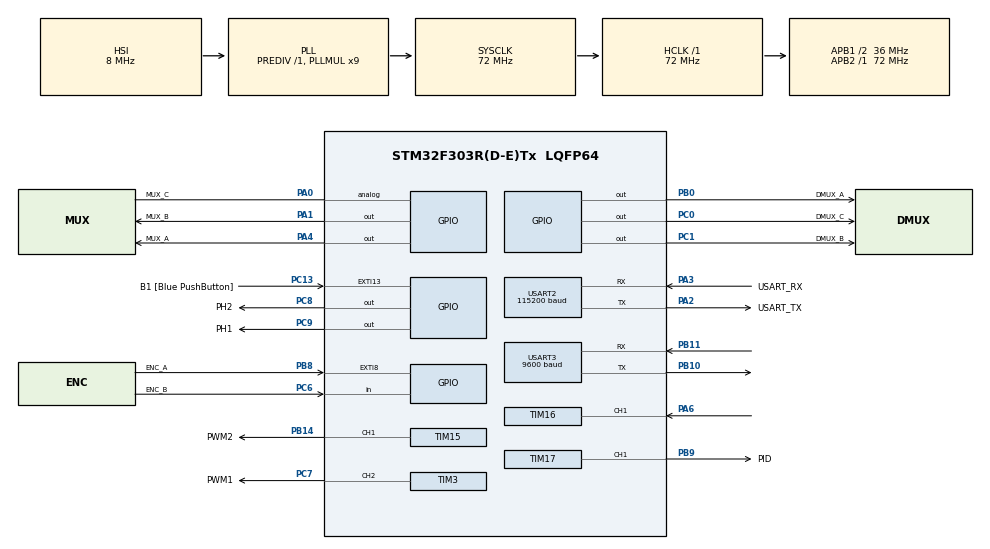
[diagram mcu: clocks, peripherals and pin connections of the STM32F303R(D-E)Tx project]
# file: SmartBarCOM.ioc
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FREERTOS.Tasks01=ExecuteCommand,24,128,StartExecuteCommand,Default,NULL,Dynamic,NULL,NULL
Mcu.Family=STM32F3
Mcu.Name=STM32F303R(D-E)Tx
Mcu.Package=LQFP64
NVIC.EXTI9_5_IRQn=true\:5\:0\:false\:false\:true\:true\:true\:true\:true
NVIC.PriorityGroup=NVIC_PRIORITYGROUP_4
NVIC.TIM6_DAC_IRQn=true\:15\:0\:false\:false\:true\:false\:false\:true\:true
NVIC.TimeBase=TIM6_DAC_IRQn
NVIC.TimeBaseIP=TIM6
NVIC.USART2_IRQn=true\:5\:0\:false\:false\:true\:true\:true\:true\:true
NVIC.USART3_IRQn=true\:5\:0\:false\:false\:true\:true\:true\:true\:true
PA0.GPIO_Label=MUX_C
PA0.Signal=GPIO_Analog
PA1.GPIO_Label=MUX_B
PA1.Signal=GPIO_Output
PA13.GPIO_Label=TMS
PA13.Mode=Serial_Wire
PA13.Signal=SYS_JTMS-SWDIO
PA14.GPIO_Label=TCK
PA14.Mode=Serial_Wire
PA14.Signal=SYS_JTCK-SWCLK
PA2.GPIO_Label=USART_TX
PA2.GPIO_Mode=GPIO_MODE_AF_PP
PA2.GPIO_PuPd=GPIO_NOPULL
PA2.GPIO_Speed=GPIO_SPEED_FREQ_LOW
PA2.Mode=Asynchronous
PA2.Signal=USART2_TX
PA3.GPIO_Label=USART_RX
PA3.GPIO_Mode=GPIO_MODE_AF_PP
PA3.GPIO_PuPd=GPIO_NOPULL
PA3.GPIO_Speed=GPIO_SPEED_FREQ_LOW
PA3.Mode=Asynchronous
PA3.Signal=USART2_RX
PA4.GPIO_Label=MUX_A
PA4.Signal=GPIO_Output
PA6.Signal=S_TIM16_CH1
PB0.GPIO_Label=DMUX_A
PB0.Signal=GPIO_Output
PB10.Mode=Asynchronous
PB10.Signal=USART3_TX
PB11.Mode=Asynchronous
PB11.Signal=USART3_RX
PB14.GPIO_Label=PWM2
PB14.Signal=S_TIM15_CH1
PB3.GPIO_Label=SWO
PB3.Signal=SYS_JTDO-TRACESWO
PB8.GPIO_Label=ENC_A
PB8.GPIO_ModeDefaultEXTI=GPIO_MODE_IT_RISING_FALLING
PB8.GPIO_PuPd=GPIO_PULLUP
PB8.Signal=GPXTI8
PB9.GPIO_Label=PID
PB9.Signal=S_TIM17_CH1
PC0.GPIO_Label=DMUX_C
PC0.Signal=GPIO_Output
PC1.GPIO_Label=DMUX_B
PC1.Signal=GPIO_Output
PC13.GPIO_Label=B1 [Blue PushButton]
PC13.GPIO_ModeDefaultEXTI=GPIO_MODE_IT_FALLING
PC13.Signal=GPXTI13
PC14-OSC32_IN.Mode=LSE-External-Oscillator
PC14-OSC32_IN.Signal=RCC_OSC32_IN
PC15-OSC32_OUT.Mode=LSE-External-Oscillator
PC15-OSC32_OUT.Signal=RCC_OSC32_OUT
PC6.GPIO_Label=ENC_B
PC6.GPIO_PuPd=GPIO_PULLUP
PC6.Signal=GPIO_Input
PC7.GPIO_Label=PWM1
PC7.Signal=S_TIM3_CH2
PC8.GPIO_Label=PH2
PC8.Signal=GPIO_Output
PC9.GPIO_Label=PH1
PC9.Signal=GPIO_Output
PF0-OSC_IN.Mode=HSE-External-Clock-Source
PF0-OSC_IN.Signal=RCC_OSC_IN
PF1-OSC_OUT.Signal=RCC_OSC_OUT
ProjectManager.HeapSize=0x200
ProjectManager.StackSize=0x400
ProjectManager.TargetToolchain=CMake
RCC.AHBFreq_Value=72000000
RCC.APB1CLKDivider=RCC_HCLK_DIV2
RCC.APB1Freq_Value=36000000
RCC.APB1TimFreq_Value=72000000
RCC.APB2Freq_Value=72000000
RCC.APB2TimCLKDivider=1
RCC.APB2TimFreq_Value=72000000
RCC.CortexFreq_Value=72000000
RCC.HCLKFreq_Value=72000000
RCC.HSE_VALUE=8000000
RCC.HSI_VALUE=8000000
RCC.PLLM=8
RCC.PLLMUL=RCC_PLL_MUL9
RCC.PLLN=336
RCC.PLLP=RCC_PLLP_DIV4
RCC.PLLQ=7
RCC.RCC_PLLsource_Clock_Source_FROM_HSE=RCC_HSE_PREDIV_DIV2
RCC.SYSCLKFreq_VALUE=72000000
RCC.SYSCLKSourceVirtual=RCC_SYSCLKSOURCE_PLLCLK
RCC.USBFreq_Value=72000000
SH.S_TIM15_CH1.0=TIM15_CH1,PWM Generation1 CH1
SH.S_TIM16_CH1.0=TIM16_CH1,Input_Capture1_from_TI1
SH.S_TIM17_CH1.0=TIM17_CH1,PWM Generation1 CH1
SH.S_TIM3_CH2.0=TIM3_CH2,PWM Generation2 CH2
TIM15.Channel-PWM\ Generation1\ CH1=TIM_CHANNEL_1
TIM15.Period=255
TIM15.Prescaler=282
TIM16.Channel=TIM_CHANNEL_1
TIM16.Period=65535
TIM16.Prescaler=72
TIM17.Channel=TIM_CHANNEL_1
TIM17.Period=255
TIM17.Prescaler=565
TIM3.Channel-PWM\ Generation2\ CH2=TIM_CHANNEL_2
TIM3.Period=255
TIM3.Prescaler=5625
USART2.BaudRate=115200
USART2.VirtualMode-Asynchronous=VM_ASYNC
USART3.BaudRate=9600
USART3.VirtualMode-Asynchronous=VM_ASYNC
VP_FREERTOS_VS_CMSIS_V2.Mode=CMSIS_V2
VP_SYS_VS_tim6.Mode=TIM6
VP_TIM16_VS_ClockSourceINT.Mode=Enable_Timer
VP_TIM17_VS_ClockSourceINT.Mode=Enable_Timer
board=NUCLEO-F303RE

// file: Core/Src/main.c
#include "main.h"
#include "cmsis_os.h"

#include "cli.h"

TIM_HandleTypeDef htim3;
TIM_HandleTypeDef htim15;
TIM_HandleTypeDef htim16;
TIM_HandleTypeDef htim17;

UART_HandleTypeDef huart2;
UART_HandleTypeDef huart3;

osThreadId_t ExecuteCommandHandle;
const osThreadAttr_t ExecuteCommand_attributes = {
  .name = "ExecuteCommand",
  .stack_size = 128 * 4,
  .priority = (osPriority_t) osPriorityNormal,
};

// Flags and indexes
volatile uint8_t enterPressed = 0;

// Stores the last received character
uint8_t textChar[2];
// rxBuffer index
uint8_t rxIdx;

/* USER CODE END PV */

void SystemClock_Config(void);
static void MX_GPIO_Init(void);
static void MX_USART2_UART_Init(void);
static void MX_USART3_UART_Init(void);
static void MX_TIM3_Init(void);
static void MX_TIM17_Init(void);
static void MX_TIM16_Init(void);
static void MX_TIM15_Init(void);
void StartExecuteCommand(void *argument);

int main(void) {

  /* MCU Configuration--------------------------------------------------------*/

  /* Reset of all peripherals, Initializes the Flash interface and the Systick. */
  HAL_Init();

  /* Configure the system clock */
  SystemClock_Config();

  /* Initialize all configured peripherals */
  MX_GPIO_Init();
  MX_USART2_UART_Init();
  MX_USART3_UART_Init();
  MX_TIM3_Init();
  MX_TIM17_Init();
  MX_TIM16_Init();
  MX_TIM15_Init();
  /* USER CODE BEGIN 2 */
  //! MOVER AQUÍ
  HAL_UART_Receive_IT(&huart3, textChar, 1);
  // HAL_UART_Receive_IT(&huart2, textChar, 1);

  // Set the initial angle of the servo motor to 0°
  uint8_t pulse = (uint8_t)((SERVO_DUTY_CYCLE_LOWER_BOUND / 100.0) * 255);
  __HAL_TIM_SET_COMPARE(&htim3, TIM_CHANNEL_2, pulse);
  __HAL_TIM_SET_COMPARE(&htim15, TIM_CHANNEL_1, 0);
  /* USER CODE END 2 */

  /* Init scheduler */
  osKernelInitialize();

  /* Create the thread(s) */
  /* creation of ExecuteCommand */
  ExecuteCommandHandle = osThreadNew(StartExecuteCommand, NULL, &ExecuteCommand_attributes);

  /* Start scheduler */
  osKernelStart();

  /* We should never get here as control is now taken by the scheduler */

  /* Infinite loop */
  while (1)
  {

  }
}

void SystemClock_Config(void) {
  RCC_OscInitTypeDef RCC_OscInitStruct = {0};
  RCC_ClkInitTypeDef RCC_ClkInitStruct = {0};
  RCC_PeriphCLKInitTypeDef PeriphClkInit = {0};

  /** Initializes the RCC Oscillators according to the specified parameters
  * in the RCC_OscInitTypeDef structure.
  */
  RCC_OscInitStruct.OscillatorType = RCC_OSCILLATORTYPE_HSI;
  RCC_OscInitStruct.HSIState = RCC_HSI_ON;
  RCC_OscInitStruct.HSICalibrationValue = RCC_HSICALIBRATION_DEFAULT;
  RCC_OscInitStruct.PLL.PLLState = RCC_PLL_ON;
  RCC_OscInitStruct.PLL.PLLSource = RCC_PLLSOURCE_HSI;
  RCC_OscInitStruct.PLL.PLLMUL = RCC_PLL_MUL9;
  RCC_OscInitStruct.PLL.PREDIV = RCC_PREDIV_DIV1;

  if (HAL_RCC_OscConfig(&RCC_OscInitStruct) != HAL_OK) {
    Error_Handler();
  }

  /** Initializes the CPU, AHB and APB buses clocks
  */
  RCC_ClkInitStruct.ClockType = RCC_CLOCKTYPE_HCLK|RCC_CLOCKTYPE_SYSCLK
                              |RCC_CLOCKTYPE_PCLK1|RCC_CLOCKTYPE_PCLK2;
  RCC_ClkInitStruct.SYSCLKSource = RCC_SYSCLKSOURCE_PLLCLK;
  RCC_ClkInitStruct.AHBCLKDivider = RCC_SYSCLK_DIV1;
  RCC_ClkInitStruct.APB1CLKDivider = RCC_HCLK_DIV2;
  RCC_ClkInitStruct.APB2CLKDivider = RCC_HCLK_DIV1;

  if (HAL_RCC_ClockConfig(&RCC_ClkInitStruct, FLASH_LATENCY_2) != HAL_OK) {
    Error_Handler();
  }
  PeriphClkInit.PeriphClockSelection = RCC_PERIPHCLK_USART2|RCC_PERIPHCLK_USART3
                                        |RCC_PERIPHCLK_TIM15|RCC_PERIPHCLK_TIM16
                                        |RCC_PERIPHCLK_TIM17|RCC_PERIPHCLK_TIM34;
  PeriphClkInit.Usart2ClockSelection = RCC_USART2CLKSOURCE_PCLK1;
  PeriphClkInit.Usart3ClockSelection = RCC_USART3CLKSOURCE_PCLK1;
  PeriphClkInit.Tim16ClockSelection = RCC_TIM16CLK_HCLK;
  PeriphClkInit.Tim17ClockSelection = RCC_TIM17CLK_HCLK;
  PeriphClkInit.Tim34ClockSelection = RCC_TIM34CLK_HCLK;

  if (HAL_RCCEx_PeriphCLKConfig(&PeriphClkInit) != HAL_OK) {
    Error_Handler();
  }
}

static void MX_TIM3_Init(void) {

  TIM_MasterConfigTypeDef sMasterConfig = {0};
  TIM_OC_InitTypeDef sConfigOC = {0};

  htim3.Instance = TIM3;
  htim3.Init.Prescaler = 5625;
  htim3.Init.CounterMode = TIM_COUNTERMODE_UP;
  htim3.Init.Period = 255;
  htim3.Init.ClockDivision = TIM_CLOCKDIVISION_DIV1;
  htim3.Init.AutoReloadPreload = TIM_AUTORELOAD_PRELOAD_DISABLE;

  if (HAL_TIM_PWM_Init(&htim3) != HAL_OK) {
    Error_Handler();
  }

  sMasterConfig.MasterOutputTrigger = TIM_TRGO_RESET;
  sMasterConfig.MasterSlaveMode = TIM_MASTERSLAVEMODE_DISABLE;

  if (HAL_TIMEx_MasterConfigSynchronization(&htim3, &sMasterConfig) != HAL_OK) {
    Error_Handler();
  }

  sConfigOC.OCMode = TIM_OCMODE_PWM1;
  sConfigOC.Pulse = 0;
  sConfigOC.OCPolarity = TIM_OCPOLARITY_HIGH;
  sConfigOC.OCFastMode = TIM_OCFAST_DISABLE;

  if (HAL_TIM_PWM_ConfigChannel(&htim3, &sConfigOC, TIM_CHANNEL_2) != HAL_OK) {
    Error_Handler();
  }

  /* USER CODE BEGIN TIM3_Init 2 */
  HAL_TIM_PWM_Start(&htim3, TIM_CHANNEL_2);
  /* USER CODE END TIM3_Init 2 */
  HAL_TIM_MspPostInit(&htim3);
}

static void MX_TIM15_Init(void) {

  TIM_MasterConfigTypeDef sMasterConfig = {0};
  TIM_OC_InitTypeDef sConfigOC = {0};
  TIM_BreakDeadTimeConfigTypeDef sBreakDeadTimeConfig = {0};

  htim15.Instance = TIM15;
  htim15.Init.Prescaler = 282;
  htim15.Init.CounterMode = TIM_COUNTERMODE_UP;
  htim15.Init.Period = 255;
  htim15.Init.ClockDivision = TIM_CLOCKDIVISION_DIV1;
  htim15.Init.RepetitionCounter = 0;
  htim15.Init.AutoReloadPreload = TIM_AUTORELOAD_PRELOAD_DISABLE;

  if (HAL_TIM_PWM_Init(&htim15) != HAL_OK) {
    Error_Handler();
  }

  sMasterConfig.MasterOutputTrigger = TIM_TRGO_RESET;
  sMasterConfig.MasterSlaveMode = TIM_MASTERSLAVEMODE_DISABLE;

  if (HAL_TIMEx_MasterConfigSynchronization(&htim15, &sMasterConfig) != HAL_OK) {
    Error_Handler();
  }

  sConfigOC.OCMode = TIM_OCMODE_PWM1;
  sConfigOC.Pulse = 0;
  sConfigOC.OCPolarity = TIM_OCPOLARITY_HIGH;
  sConfigOC.OCNPolarity = TIM_OCNPOLARITY_HIGH;
  sConfigOC.OCFastMode = TIM_OCFAST_DISABLE;
  sConfigOC.OCIdleState = TIM_OCIDLESTATE_RESET;
  sConfigOC.OCNIdleState = TIM_OCNIDLESTATE_RESET;

  if (HAL_TIM_PWM_ConfigChannel(&htim15, &sConfigOC, TIM_CHANNEL_1) != HAL_OK) {
    Error_Handler();
  }

  sBreakDeadTimeConfig.OffStateRunMode = TIM_OSSR_DISABLE;
  sBreakDeadTimeConfig.OffStateIDLEMode = TIM_OSSI_DISABLE;
  sBreakDeadTimeConfig.LockLevel = TIM_LOCKLEVEL_OFF;
  sBreakDeadTimeConfig.DeadTime = 0;
  sBreakDeadTimeConfig.BreakState = TIM_BREAK_DISABLE;
  sBreakDeadTimeConfig.BreakPolarity = TIM_BREAKPOLARITY_HIGH;
  sBreakDeadTimeConfig.BreakFilter = 0;
  sBreakDeadTimeConfig.AutomaticOutput = TIM_AUTOMATICOUTPUT_DISABLE;

  if (HAL_TIMEx_ConfigBreakDeadTime(&htim15, &sBreakDeadTimeConfig) != HAL_OK) {
    Error_Handler();
  }

  /* USER CODE BEGIN TIM15_Init 2 */
  HAL_TIM_PWM_Start(&htim15, TIM_CHANNEL_1);
  /* USER CODE END TIM15_Init 2 */
  HAL_TIM_MspPostInit(&htim15);
}

static void MX_TIM16_Init(void) {

  TIM_IC_InitTypeDef sConfigIC = {0};

  htim16.Instance = TIM16;
  htim16.Init.Prescaler = 72;
  htim16.Init.CounterMode = TIM_COUNTERMODE_UP;
  htim16.Init.Period = 65535;
  htim16.Init.ClockDivision = TIM_CLOCKDIVISION_DIV1;
  htim16.Init.RepetitionCounter = 0;
  htim16.Init.AutoReloadPreload = TIM_AUTORELOAD_PRELOAD_DISABLE;

  if (HAL_TIM_Base_Init(&htim16) != HAL_OK) {
    Error_Handler();
  }

  if (HAL_TIM_IC_Init(&htim16) != HAL_OK) {
    Error_Handler();
  }

  sConfigIC.ICPolarity = TIM_INPUTCHANNELPOLARITY_RISING;
  sConfigIC.ICSelection = TIM_ICSELECTION_DIRECTTI;
  sConfigIC.ICPrescaler = TIM_ICPSC_DIV1;
  sConfigIC.ICFilter = 0;

  if (HAL_TIM_IC_ConfigChannel(&htim16, &sConfigIC, TIM_CHANNEL_1) != HAL_OK) {
    Error_Handler();
  }
  /* USER CODE BEGIN TIM16_Init 2 */
  HAL_TIM_Base_Start(&htim16);
  /* USER CODE END TIM16_Init 2 */
}

static void MX_TIM17_Init(void) {

  TIM_OC_InitTypeDef sConfigOC = {0};
  TIM_BreakDeadTimeConfigTypeDef sBreakDeadTimeConfig = {0};

  htim17.Instance = TIM17;
  htim17.Init.Prescaler = 565;
  htim17.Init.CounterMode = TIM_COUNTERMODE_UP;
  htim17.Init.Period = 255;
  htim17.Init.ClockDivision = TIM_CLOCKDIVISION_DIV1;
  htim17.Init.RepetitionCounter = 0;
  htim17.Init.AutoReloadPreload = TIM_AUTORELOAD_PRELOAD_DISABLE;

  if (HAL_TIM_Base_Init(&htim17) != HAL_OK) {
    Error_Handler();
  }

  if (HAL_TIM_PWM_Init(&htim17) != HAL_OK) {
    Error_Handler();
  }

  sConfigOC.OCMode = TIM_OCMODE_PWM1;
  sConfigOC.Pulse = 0;
  sConfigOC.OCPolarity = TIM_OCPOLARITY_HIGH;
  sConfigOC.OCNPolarity = TIM_OCNPOLARITY_HIGH;
  sConfigOC.OCFastMode = TIM_OCFAST_DISABLE;
  sConfigOC.OCIdleState = TIM_OCIDLESTATE_RESET;
  sConfigOC.OCNIdleState = TIM_OCNIDLESTATE_RESET;

  if (HAL_TIM_PWM_ConfigChannel(&htim17, &sConfigOC, TIM_CHANNEL_1) != HAL_OK) {
    Error_Handler();
  }

  sBreakDeadTimeConfig.OffStateRunMode = TIM_OSSR_DISABLE;
  sBreakDeadTimeConfig.OffStateIDLEMode = TIM_OSSI_DISABLE;
  sBreakDeadTimeConfig.LockLevel = TIM_LOCKLEVEL_OFF;
  sBreakDeadTimeConfig.DeadTime = 0;
  sBreakDeadTimeConfig.BreakState = TIM_BREAK_DISABLE;
  sBreakDeadTimeConfig.BreakPolarity = TIM_BREAKPOLARITY_HIGH;
  sBreakDeadTimeConfig.BreakFilter = 0;
  sBreakDeadTimeConfig.AutomaticOutput = TIM_AUTOMATICOUTPUT_DISABLE;

  if (HAL_TIMEx_ConfigBreakDeadTime(&htim17, &sBreakDeadTimeConfig) != HAL_OK) {
    Error_Handler();
  }

  /* USER CODE BEGIN TIM17_Init 2 */
  HAL_TIM_PWM_Start(&htim17, TIM_CHANNEL_1);
  /* USER CODE END TIM17_Init 2 */
  HAL_TIM_MspPostInit(&htim17);
}

static void MX_USART2_UART_Init(void) {

  huart2.Instance = USART2;
  huart2.Init.BaudRate = 115200;
  huart2.Init.WordLength = UART_WORDLENGTH_8B;
  huart2.Init.StopBits = UART_STOPBITS_1;
  huart2.Init.Parity = UART_PARITY_NONE;
  huart2.Init.Mode = UART_MODE_TX_RX;
  huart2.Init.HwFlowCtl = UART_HWCONTROL_NONE;
  huart2.Init.OverSampling = UART_OVERSAMPLING_16;
  huart2.Init.OneBitSampling = UART_ONE_BIT_SAMPLE_DISABLE;
  huart2.AdvancedInit.AdvFeatureInit = UART_ADVFEATURE_NO_INIT;

  if (HAL_UART_Init(&huart2) != HAL_OK) {
    Error_Handler();
  }
}

static void MX_USART3_UART_Init(void) {

  huart3.Instance = USART3;
  huart3.Init.BaudRate = 9600;
  huart3.Init.WordLength = UART_WORDLENGTH_8B;
  huart3.Init.StopBits = UART_STOPBITS_1;
  huart3.Init.Parity = UART_PARITY_NONE;
  huart3.Init.Mode = UART_MODE_TX_RX;
  huart3.Init.HwFlowCtl = UART_HWCONTROL_NONE;
  huart3.Init.OverSampling = UART_OVERSAMPLING_16;
  huart3.Init.OneBitSampling = UART_ONE_BIT_SAMPLE_DISABLE;
  huart3.AdvancedInit.AdvFeatureInit = UART_ADVFEATURE_NO_INIT;

  if (HAL_UART_Init(&huart3) != HAL_OK) {
    Error_Handler();
  }
}

static void MX_GPIO_Init(void) {
  GPIO_InitTypeDef GPIO_InitStruct = {0};

  /* GPIO Ports Clock Enable */
  __HAL_RCC_GPIOC_CLK_ENABLE();
  __HAL_RCC_GPIOF_CLK_ENABLE();
  __HAL_RCC_GPIOA_CLK_ENABLE();
  __HAL_RCC_GPIOB_CLK_ENABLE();

  /*Configure GPIO pin Output Level */
  HAL_GPIO_WritePin(GPIOC, DMUX_C_Pin|DMUX_B_Pin|PH2_Pin|PH1_Pin, GPIO_PIN_RESET);

  /*Configure GPIO pin Output Level */
  HAL_GPIO_WritePin(GPIOA, MUX_B_Pin|MUX_A_Pin, GPIO_PIN_RESET);

  /*Configure GPIO pin Output Level */
  HAL_GPIO_WritePin(DMUX_A_GPIO_Port, DMUX_A_Pin, GPIO_PIN_RESET);

  /*Configure GPIO pin : B1_Pin */
  GPIO_InitStruct.Pin = B1_Pin;
  GPIO_InitStruct.Mode = GPIO_MODE_IT_FALLING;
  GPIO_InitStruct.Pull = GPIO_NOPULL;
  HAL_GPIO_Init(B1_GPIO_Port, &GPIO_InitStruct);

  /*Configure GPIO pins : DMUX_C_Pin DMUX_B_Pin PH2_Pin PH1_Pin */
  GPIO_InitStruct.Pin = DMUX_C_Pin|DMUX_B_Pin|PH2_Pin|PH1_Pin;
  GPIO_InitStruct.Mode = GPIO_MODE_OUTPUT_PP;
  GPIO_InitStruct.Pull = GPIO_NOPULL;
  GPIO_InitStruct.Speed = GPIO_SPEED_FREQ_LOW;
  HAL_GPIO_Init(GPIOC, &GPIO_InitStruct);

  /*Configure GPIO pin : MUX_C_Pin */
  GPIO_InitStruct.Pin = MUX_C_Pin;
  GPIO_InitStruct.Mode = GPIO_MODE_ANALOG;
  GPIO_InitStruct.Pull = GPIO_NOPULL;
  HAL_GPIO_Init(MUX_C_GPIO_Port, &GPIO_InitStruct);

  /*Configure GPIO pins : MUX_B_Pin MUX_A_Pin */
  GPIO_InitStruct.Pin = MUX_B_Pin|MUX_A_Pin;
  GPIO_InitStruct.Mode = GPIO_MODE_OUTPUT_PP;
  GPIO_InitStruct.Pull = GPIO_NOPULL;
  GPIO_InitStruct.Speed = GPIO_SPEED_FREQ_LOW;
  HAL_GPIO_Init(GPIOA, &GPIO_InitStruct);

  /*Configure GPIO pin : DMUX_A_Pin */
  GPIO_InitStruct.Pin = DMUX_A_Pin;
  GPIO_InitStruct.Mode = GPIO_MODE_OUTPUT_PP;
  GPIO_InitStruct.Pull = GPIO_NOPULL;
  GPIO_InitStruct.Speed = GPIO_SPEED_FREQ_LOW;
  HAL_GPIO_Init(DMUX_A_GPIO_Port, &GPIO_InitStruct);

  /*Configure GPIO pin : ENC_B_Pin */
  GPIO_InitStruct.Pin = ENC_B_Pin;
  GPIO_InitStruct.Mode = GPIO_MODE_INPUT;
  GPIO_InitStruct.Pull = GPIO_PULLUP;
  HAL_GPIO_Init(ENC_B_GPIO_Port, &GPIO_InitStruct);

  /*Configure GPIO pin : ENC_A_Pin */
  GPIO_InitStruct.Pin = ENC_A_Pin;
  GPIO_InitStruct.Mode = GPIO_MODE_IT_RISING_FALLING;
  GPIO_InitStruct.Pull = GPIO_PULLUP;
  HAL_GPIO_Init(ENC_A_GPIO_Port, &GPIO_InitStruct);

  /* EXTI interrupt init*/
  HAL_NVIC_SetPriority(EXTI9_5_IRQn, 5, 0);
  HAL_NVIC_EnableIRQ(EXTI9_5_IRQn);

}

/* USER CODE BEGIN 4 */

/**
 * @brief Callback function for the UART reception.
 *
 * This function is called when a character is received from the UART3 peripheral.
 * The received character is stored in the rxBuffer and echoed back to the terminal
 * console connected to the UART2 peripheral. Supports backspace and Enter characters.
 *
 * @param huart
 * @retval None
 * @note The expected UART instance to receive data is USART3, which is connected to the
 *       HC-05 Bluetooth module. The UART2 instance is used to echo the received characters
 *       back to the terminal console, which corresponds to the USB virtual COM port from
 *       the Nucleo board.
 */
void HAL_UART_RxCpltCallback(UART_HandleTypeDef *huart) {
  // If the interrupt is not from USART3, ignore it
  if (huart->Instance != USART3)
    return;

  // Add the received character to the buffer. Ignore Enter and Backspace
  if (textChar[0] != 13 && textChar[0] != 8) {
    rxBuffer[rxIdx++] = textChar[0];
    // Echo the received character
    HAL_UART_Transmit(&huart2, textChar, 1, 100);
  }

  // Handle backspace. Remove the last character from the buffer
  if (textChar[0] == 8 && rxIdx > 0) {
    rxIdx--;
    rxBuffer[rxIdx] = 0;
    // Erase the last character from the terminal
    HAL_UART_Transmit(&huart2, (uint8_t*)"\b \b", 3, 100);
  }

  // Handle Enter. Reset the buffer and handle the command
  if (textChar[0] == 13) {
    // Reset the buffer and the index
    rxIdx = 0;

    // Send the received command to the command buffer if there is enough
    // space in the buffe r
    if (cmdCount < CMD_VCTR_SIZE) {
      ParseCommand();
    }

    // Echo a newline character
    HAL_UART_Transmit(&huart2, (uint8_t*)"\n\r", 2, 100);
    memset(rxBuffer, 0, RX_BUFFER_SIZE);
  }

  // Restart the interrupt-driven reception of a single character
  HAL_UART_Receive_IT(&huart3, textChar, 1);
  // HAL_UART_Receive_IT(&huart2, textChar, 1);
}

void HAL_GPIO_EXTI_Callback(uint16_t GPIO_Pin) {
  if (GPIO_Pin == ENC_A_Pin) {
    int stateA = HAL_GPIO_ReadPin(ENC_A_GPIO_Port, ENC_A_Pin);
    int stateB = HAL_GPIO_ReadPin(ENC_B_GPIO_Port, ENC_B_Pin);

    if (stateA == GPIO_PIN_SET) {
      if (stateB == GPIO_PIN_RESET) {
        encoderPos++;
      } else {
        encoderPos--;
      }
    } else {
      if (stateB == GPIO_PIN_RESET) {
        encoderPos--;
      } else {
        encoderPos++;
      }
    }
  }
}

/**
 * @brief Selects the input channel of the Mux
 *
 * Sets the appropriate pin values to let a signal come from the desired channel,
 * which can be 1 out 8 input channels
 *
 * @param channel Channel to be selected
 * @retval None
 */
void SelectInputChannel(uint8_t channel) {
  // Calculate the state for each pin
  uint8_t A = (channel & 0x01); // bit 0
  uint8_t B = (channel & 0x02) >> 1; // bit 1
  uint8_t C = (channel & 0x04) >> 2; // bit 2

  // Set each pin state
  HAL_GPIO_WritePin(MUX_A_GPIO_Port, MUX_A_Pin, A ? GPIO_PIN_SET : GPIO_PIN_RESET);
  HAL_GPIO_WritePin(MUX_B_GPIO_Port, MUX_B_Pin, B ? GPIO_PIN_SET : GPIO_PIN_RESET);
  HAL_GPIO_WritePin(MUX_C_GPIO_Port, MUX_C_Pin, C ? GPIO_PIN_SET : GPIO_PIN_RESET);
}

/**
 * @brief Selects the output channel of the DMux.
 *
 * Sets the appropriate pin values to pass a signal through the desired channel,
 * which can be 1 out 8 output channels
 *
 * @param channel Channel to be selected
 * @retval None
 */
void SelectOutputChannel(uint8_t channel) {
  // Calculate the state for each pin
  uint8_t A = (channel & 0x01); // bit 0
  uint8_t B = (channel & 0x02) >> 1; // bit 1
  uint8_t C = (channel & 0x04) >> 2; // bit 2

  // Set each pin state
  HAL_GPIO_WritePin(DMUX_A_GPIO_Port, DMUX_A_Pin, A ? GPIO_PIN_SET : GPIO_PIN_RESET);
  HAL_GPIO_WritePin(DMUX_B_GPIO_Port, DMUX_B_Pin, B ? GPIO_PIN_SET : GPIO_PIN_RESET);
  HAL_GPIO_WritePin(DMUX_C_GPIO_Port, DMUX_C_Pin, C ? GPIO_PIN_SET : GPIO_PIN_RESET);
}
/* USER CODE END 4 */

/* USER CODE BEGIN Header_StartExecuteCommand */
/**
 * @brief Function implementing the ExecuteCommand thread.
 *
 * @param argument
 */
/* USER CODE END Header_StartExecuteCommand */
void StartExecuteCommand(void *argument) {
  while (1) {
    // Ignore if there is no command in the buffer
    if (cmdCount == 0)
      continue;

    // Get the command from the buffer
    CommandVector *cmdVctr = &circBuffer[cmdReadIdx];

    // Execute the command
    if (strcmp(cmdVctr->cmdName, "PWM") == 0) {
      ExecutePWM(cmdVctr);
    } else if (strcmp(cmdVctr->cmdName, "PID") == 0) {
      ExecutePID(cmdVctr);
    }

    // Move to the next command in the buffer
    cmdReadIdx = (cmdReadIdx + 1) % CIRC_BUFFER_SIZE;
    cmdCount--;
  }
}

void HAL_TIM_PeriodElapsedCallback(TIM_HandleTypeDef *htim) {
  if (htim->Instance == TIM6) {
    HAL_IncTick();
  }
}

void Error_Handler(void) {
  /* USER CODE BEGIN Error_Handler_Debug */
  /* User can add his own implementation to report the HAL error return state */
  __disable_irq();
  while (1);
  /* USER CODE END Error_Handler_Debug */
}
